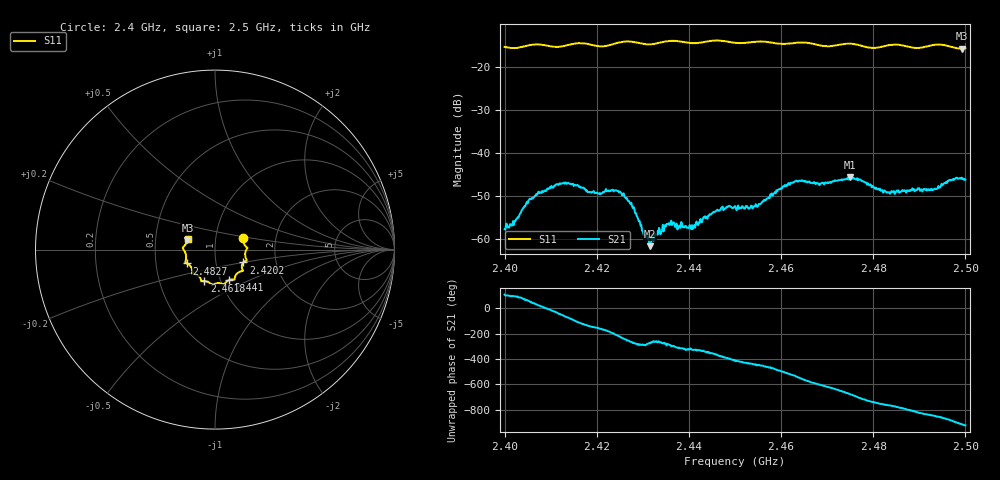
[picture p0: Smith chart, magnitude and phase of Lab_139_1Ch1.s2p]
# Hz S RI R
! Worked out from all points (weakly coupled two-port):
!   601 points, 2.4 GHz to 2.5 GHz, reference 50 ohm
!   highest |S21| = -45.77 dB at 2.475 GHz (marker M1); lowest = -61.8 dB at 2.4315 GHz (marker M2)
!   lowest |S11| = -15.8 dB at 2.4993 GHz (marker M3), VSWR 1.39, Z = 36.5 + j3.87 ohm
!   |S11| at or under -10 dB: start of sweep to end of sweep
!   S12 and S22 are empty: the file has one direction only
!   S11 on the Smith chart (normalised r, x): 2.4 GHz: 1.36, +0.18; 2.4202 GHz: 1.36, -0.20; 2.441 GHz: 1.10, -0.39; 2.4618 GHz: 0.84, -0.30; 2.4827 GHz: 0.72, -0.12; 2.5 GHz: 0.73, +0.09
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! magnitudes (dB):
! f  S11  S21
! 2.4 GHz  -15.4  -57.8
! 2.4073 GHz  -14.8  -49.1
! 2.4123 GHz  -15.3  -47.2
! 2.4167 GHz  -14.6  -48.1
! 2.4202 GHz  -15.2  -49.4
! 2.4255 GHz  -14.2  -49.9
! 2.4277 GHz  -14.2  -52.5
! 2.4315 GHz  -14.8  -61.8
! 2.4333 GHz  -14.5  -59.0
! 2.4357 GHz  -14.0  -56.4
! 2.441 GHz  -14.6  -57.1
! 2.4457 GHz  -13.9  -53.8
! 2.45 GHz  -14.5  -52.4
! 2.4552 GHz  -14.2  -51.9
! 2.4618 GHz  -14.6  -47.5
! 2.4667 GHz  -14.6  -47.0
! 2.475 GHz  -14.7  -45.8
! 2.4827 GHz  -15.2  -49.1
! 2.4833 GHz  -15.0  -49.3
! 2.4933 GHz  -14.9  -48.4
! 2.4993 GHz  -15.8  -46.1
! 2.5 GHz  -15.7  -46.3
